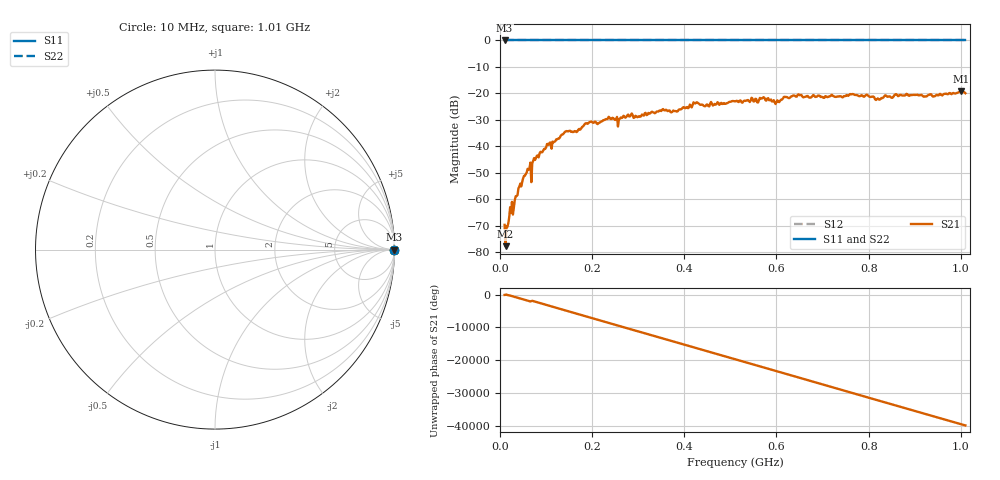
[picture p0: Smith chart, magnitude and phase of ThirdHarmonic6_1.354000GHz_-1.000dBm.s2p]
! 8/16/2025 3:15:38 PM
! C:\ANRITSUVNA\TEMP\TEMP.S2P
! CHANNEL.1
! TR.MEASUREMENT
! RAW.DATA
! RF.CORRECTION.OFF
! AVERAGING.OFF
! IF.BANDWIDTH: 5KHZ
! SWEEPTYPE:  FREQ.SWEEP(Linear)
! Reference Plane Port Info
! PORT:  PORT1  PORT2
! DISTANCE:  0  m  0  m
! TIME:  0  s  0  s
! PHASE.OFFSET:  0  deg.  0  deg.
! LOSS:  0  dB  0  dB
! REF.LOSS:  0  dB  0  dB
! REF.FREQ:  0  Hz  0  Hz
! Power Info
! POWER:  -20  dBm  -20  dBm
! EFF.POWER:  -20  dBm  -20  dBm
! SOURCE.ATTEN:  0  dB  0  dB
! TEST.ATTEN:  0  dB  0  dB
# GHZ S RI R 50.0
! FREQ.GHZ  S11RE  S11IM  S21RE  S21IM  S12RE  S12IM  S22RE  S22IM
!; PortSelection: Port_12
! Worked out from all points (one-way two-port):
!   501 points, 10 MHz to 1.01 GHz, reference 50 ohm
!   highest |S21| = -19.16 dB at 1 GHz (marker M1); lowest = -77.8 dB at 12 MHz (marker M2)
!   lowest |S11| = 0.0 dB at 10 MHz (marker M3)
!   |S11| at or under -10 dB: nowhere
!   |S22| runs from 0.0 to 0.0 dB; largest |S21 - S12| = 1.1
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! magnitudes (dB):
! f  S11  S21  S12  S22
! 10 MHz  0.0  -69.7  0.0  0.0
! 12 MHz  0.0  -77.8  0.0  0.0
! 16 MHz  0.0  -70.6  0.0  0.0
! 22 MHz  0.0  -63.1  0.0  0.0
! 40 MHz  0.0  -55.9  0.0  0.0
! 76 MHz  0.0  -45.2  0.0  0.0
! 142 MHz  0.0  -34.5  0.0  0.0
! 178 MHz  0.0  -32.8  0.0  0.0
! 234 MHz  0.0  -29.6  0.0  0.0
! 260 MHz  0.0  -29.6  0.0  0.0
! 344 MHz  0.0  -26.9  0.0  0.0
! 382 MHz  0.0  -26.7  0.0  0.0
! 424 MHz  0.0  -23.8  0.0  0.0
! 450 MHz  0.0  -24.2  0.0  0.0
! 510 MHz  0.0  -23.1  0.0  0.0
! 570 MHz  0.0  -21.8  0.0  0.0
! 602 MHz  0.0  -22.6  0.0  0.0
! 620 MHz  0.0  -21.4  0.0  0.0
! 678 MHz  0.0  -21.0  0.0  0.0
! 844 MHz  0.0  -21.2  0.0  0.0
! 1 GHz  0.0  -19.2  0.0  0.0
! 1.01 GHz  0.0  -20.0  0.0  0.0
